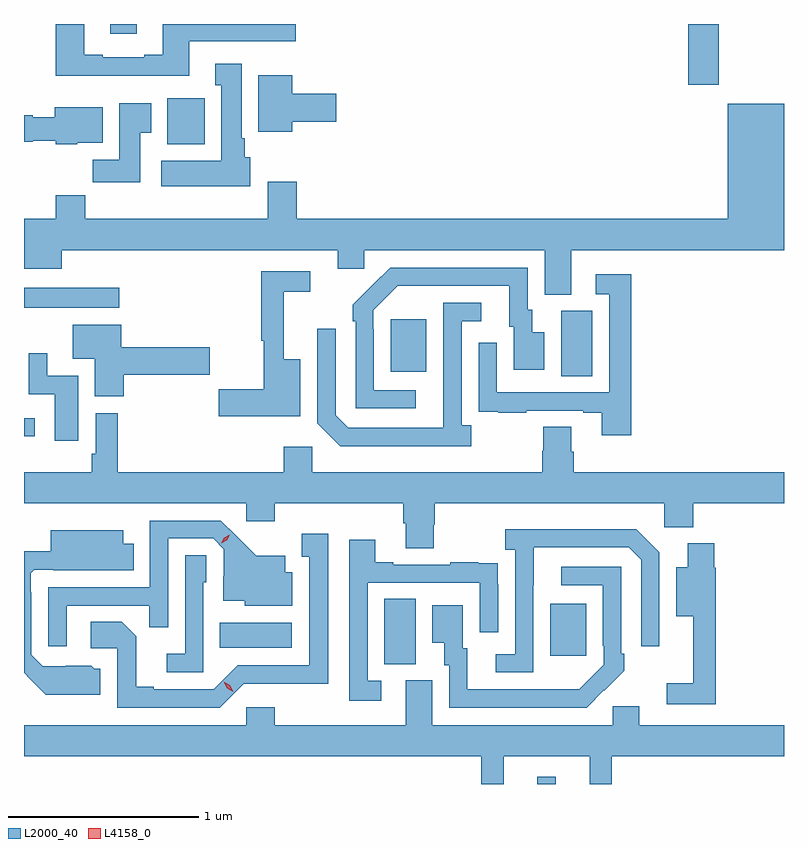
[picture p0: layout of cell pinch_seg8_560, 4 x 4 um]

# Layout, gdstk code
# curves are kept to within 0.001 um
import gdstk
lib = gdstk.Library(unit=1e-6, precision=1e-09)
def R(c, l, rs):  # rectangles x0, y0, x1, y1
    for r in rs: c.add(gdstk.rectangle(r[:2], r[2:], *l))
def P(c, l, *ps):  # polygons
    for p in ps: c.add(gdstk.Polygon(p, *l))
L2000_40 = (2000, 40)
L4158_0 = (4158, 0)

pinch_seg8_560 = lib.new_cell('pinch_seg8_560')
R(pinch_seg8_560, L2000_40, [(175.227,1112.358,175.324,1112.395), (174.422,1112.989,174.586,1113.332), (175.295,1113.033,175.483,1113.307), (173.554,1113.074,173.935,1113.208), (172.525,1114.187,172.582,1114.284), (175.352,1114.504,175.516,1114.848), (174.455,1114.529,174.643,1114.804), (172.525,1114.865,173.026,1114.969), (173.279,1115.726,173.476,1115.968), (176.021,1116.039,176.181,1116.358), (172.979,1116.306,173.119,1116.358)])
P(pinch_seg8_560, L2000_40, [(173.395,1116.267),(173.956,1116.267),(173.956,1116.358),(173.255,1116.358),(173.255,1116.196),(173.159,1116.196),(173.159,1116.183),(172.939,1116.183),(172.939,1116.196),(172.843,1116.196),(172.843,1116.358),(172.691,1116.358),(172.691,1116.086),(173.395,1116.086)],
  [(173.716,1115.658),(173.686,1115.658),(173.686,1115.758),(173.671,1115.758),(173.671,1116.148),(173.531,1116.148),(173.531,1116.035),(173.564,1116.035),(173.564,1115.638),(173.247,1115.638),(173.247,1115.504),(173.716,1115.504)],
  [(173.938,1115.843),(174.169,1115.843),(174.169,1115.99),(173.938,1115.99),(173.938,1116.088),(173.759,1116.088),(173.759,1115.792),(173.938,1115.792)],
  [(173.137,1115.785),(173.194,1115.785),(173.194,1115.941),(173.027,1115.941),(173.027,1115.644),(172.888,1115.644),(172.888,1115.526),(173.137,1115.526)],
  [(173.96,1115.527),(173.807,1115.527),(173.807,1115.332),(172.847,1115.332),(172.847,1115.456),(172.691,1115.456),(172.691,1115.332),(172.525,1115.332),(172.525,1115.069),(172.723,1115.069),(172.723,1115.168),(174.176,1115.168),(174.176,1115.07),(174.315,1115.07),(174.315,1115.168),(175.265,1115.168),(175.265,1114.933),(175.405,1114.933),(175.405,1115.168),(176.525,1115.168),(176.525,1115.938),(176.228,1115.938),(176.228,1115.332),(173.96,1115.332)],
  [(172.806,1115.732),(172.939,1115.732),(172.939,1115.92),(172.688,1115.92),(172.688,1115.866),(172.572,1115.866),(172.572,1115.879),(172.525,1115.879),(172.525,1115.737),(172.572,1115.737),(172.572,1115.744),(172.692,1115.744),(172.692,1115.726),(172.806,1115.726)],
  [(174.586,1114.431),(174.366,1114.431),(174.366,1114.751),(174.363,1114.751),(174.363,1114.851),(174.492,1114.98),(175.079,1114.98),(175.079,1114.764),(175.103,1114.764),(175.103,1114.539),(175.264,1114.539),(175.264,1114.735),(175.201,1114.735),(175.201,1114.854),(175.176,1114.854),(175.176,1115.076),(174.452,1115.076),(174.255,1114.881),(174.255,1114.793),(174.27,1114.793),(174.27,1114.335),(174.586,1114.335)],
  [(173.98,1114.594),(173.891,1114.594),(173.891,1114.95),(174.031,1114.95),(174.031,1115.058),(173.773,1115.058),(173.773,1114.69),(173.788,1114.69),(173.788,1114.436),(173.55,1114.436),(173.55,1114.294),(173.98,1114.294)],
  [(175.721,1115.041),(175.533,1115.041),(175.533,1114.935),(175.605,1114.935),(175.605,1114.419),(175.014,1114.419),(175.014,1114.681),(174.918,1114.681),(174.918,1114.426),(174.919,1114.426),(174.919,1114.317),(175.021,1114.317),(175.021,1114.311),(175.169,1114.311),(175.169,1114.323),(175.469,1114.323),(175.469,1114.311),(175.565,1114.311),(175.565,1114.194),(175.721,1114.194)],
  [(174.88,1114.246),(174.828,1114.246),(174.828,1114.794),(174.931,1114.794),(174.931,1114.89),(174.732,1114.89),(174.731,1114.233),(174.231,1114.233),(174.165,1114.299),(174.165,1114.753),(174.069,1114.753),(174.069,1114.257),(174.19,1114.136),(174.88,1114.136)],
  [(173.051,1114.511),(173.503,1114.511),(173.503,1114.658),(173.038,1114.658),(173.038,1114.774),(172.781,1114.774),(172.781,1114.595),(172.898,1114.595),(172.898,1114.398),(173.051,1114.398)],
  [(172.81,1114.506),(172.648,1114.506),(172.648,1114.624),(172.55,1114.624),(172.55,1114.41),(172.688,1114.41),(172.688,1114.164),(172.81,1114.164)],
  [(174.681,1113.723),(174.686,1113.723),(174.686,1113.836),(175.896,1113.836),(175.896,1113.71),(176.048,1113.71),(176.048,1113.836),(176.525,1113.836),(176.525,1114),(175.418,1114),(175.418,1114.106),(175.405,1114.106),(175.405,1114.238),(175.258,1114.238),(175.258,1114.113),(175.253,1114.113),(175.253,1114),(174.042,1114),(174.042,1114.132),(173.891,1114.132),(173.891,1114),(173.018,1114),(173.018,1114.309),(172.902,1114.309),(172.902,1114.096),(172.882,1114.096),(172.882,1114),(172.525,1114),(172.525,1113.836),(173.694,1113.836),(173.694,1113.741),(173.846,1113.741),(173.846,1113.836),(174.521,1113.836),(174.521,1113.73),(174.533,1113.73),(174.533,1113.598),(174.681,1113.598)],
  [(172.749,1113.297),(173.185,1113.297),(173.185,1113.184),(173.283,1113.184),(173.283,1113.651),(173.52,1113.651),(173.577,1113.594),(173.577,1113.452),(173.573,1113.452),(173.573,1113.323),(173.688,1113.323),(173.688,1113.296),(173.938,1113.296),(173.938,1113.472),(173.899,1113.472),(173.899,1113.559),(173.747,1113.559),(173.56,1113.744),(173.187,1113.744),(173.187,1113.393),(172.653,1113.393),(172.653,1113.084),(172.749,1113.084)],
  [(175.206,1113.403),(175.207,1113.603),(175.707,1113.603),(175.773,1113.537),(175.773,1113.084),(175.869,1113.084),(175.869,1113.579),(175.748,1113.7),(175.059,1113.7),(175.059,1113.59),(175.11,1113.59),(175.11,1113.042),(175.008,1113.042),(175.008,1112.946),(175.206,1112.946)],
  [(172.927,1112.964),(172.896,1112.964),(172.88,1112.98),(172.623,1112.979),(172.563,1113.039),(172.563,1113.368),(172.56,1113.368),(172.56,1113.468),(172.578,1113.486),(172.678,1113.486),(172.678,1113.482),(173.102,1113.482),(173.102,1113.622),(173.047,1113.622),(173.047,1113.694),(172.667,1113.694),(172.667,1113.583),(172.525,1113.582),(172.525,1112.943),(172.639,1112.828),(172.927,1112.828)],
  [(173.682,1112.886),(174.127,1112.885),(174.127,1113.676),(173.987,1113.676),(173.987,1113.555),(174.026,1113.555),(174.026,1112.982),(173.649,1112.982),(173.523,1112.856),(173.209,1112.856),(173.209,1112.869),(173.115,1112.869),(173.115,1113.136),(173.039,1113.212),(172.875,1113.212),(172.875,1113.072),(173.016,1113.072),(173.016,1112.76),(173.556,1112.76)],
  [(174.406,1112.901),(174.333,1112.901),(174.333,1113.417),(174.924,1113.417),(174.924,1113.156),(175.02,1113.156),(175.02,1113.41),(175.019,1113.41),(175.019,1113.519),(174.917,1113.519),(174.917,1113.526),(174.769,1113.526),(174.769,1113.513),(174.469,1113.513),(174.469,1113.526),(174.373,1113.526),(174.373,1113.643),(174.237,1113.643),(174.237,1112.796),(174.406,1112.796)],
  [(176.165,1113.495),(176.159,1113.495),(176.159,1113.625),(176.018,1113.625),(176.018,1113.499),(175.958,1113.499),(175.958,1113.242),(176.048,1113.242),(176.048,1112.887),(175.908,1112.887),(175.908,1112.778),(176.165,1112.778)],
  [(173.469,1113.42),(173.484,1113.42),(173.484,1113.563),(173.373,1113.563),(173.373,1113.043),(173.277,1113.043),(173.277,1112.946),(173.469,1112.946)],
  [(175.577,1112.851),(175.578,1112.85),(175.683,1112.955),(175.683,1113.043),(175.668,1113.043),(175.668,1113.501),(175.353,1113.501),(175.353,1113.405),(175.572,1113.405),(175.572,1113.085),(175.575,1113.085),(175.575,1112.985),(175.447,1112.857),(174.859,1112.856),(174.859,1113.072),(174.835,1113.072),(174.835,1113.298),(174.674,1113.298),(174.674,1113.101),(174.737,1113.101),(174.737,1112.982),(174.762,1112.982),(174.762,1112.76),(175.486,1112.76)],
  [(175.049,1112.504),(175.502,1112.504),(175.502,1112.358),(175.619,1112.358),(175.619,1112.504),(176.525,1112.504),(176.525,1112.668),(175.762,1112.668),(175.762,1112.766),(175.623,1112.766),(175.623,1112.668),(174.673,1112.668),(174.673,1112.904),(174.533,1112.904),(174.533,1112.668),(173.846,1112.668),(173.846,1112.761),(173.694,1112.761),(173.694,1112.668),(172.525,1112.668),(172.525,1112.504),(174.931,1112.504),(174.931,1112.358),(175.049,1112.358)])
P(pinch_seg8_560, L4158_0, [(173.625,1112.844),(173.594,1112.863),(173.576,1112.895),(173.576,1112.896),(173.576,1112.896),(173.608,1112.877),(173.626,1112.844),(173.626,1112.844)],
  [(173.562,1113.625),(173.562,1113.626),(173.579,1113.655),(173.609,1113.671),(173.609,1113.671),(173.609,1113.671),(173.593,1113.641),(173.562,1113.625)])

lib.write_gds('pinch_seg8_560.gds')
